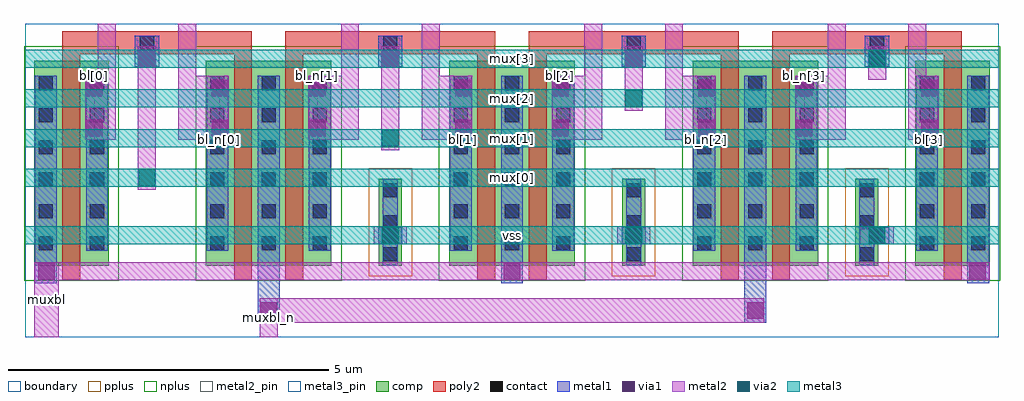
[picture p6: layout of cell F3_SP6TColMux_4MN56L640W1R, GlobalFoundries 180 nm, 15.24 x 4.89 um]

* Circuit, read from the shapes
.subckt F3_SP6TColMux_4MN56L640W1R bl[0] bl[1] bl[2] bl[3] bl_n[0] bl_n[1] bl_n[2] bl_n[3] mux[0] mux[1] mux[2] mux[3] muxbl muxbl_n vss
XM1 bl[0] mux[0] muxbl vss nfet_03v3 w=3.2u l=0.28u
XM2 muxbl_n mux[0] bl_n[0] vss nfet_03v3 w=3.2u l=0.28u
XM3 bl_n[1] mux[1] muxbl_n vss nfet_03v3 w=3.2u l=0.28u
XM4 muxbl mux[1] bl[1] vss nfet_03v3 w=3.2u l=0.28u
XM5 bl[2] mux[2] muxbl vss nfet_03v3 w=3.2u l=0.28u
XM6 muxbl_n mux[2] bl_n[2] vss nfet_03v3 w=3.2u l=0.28u
XM7 bl_n[3] mux[3] muxbl_n vss nfet_03v3 w=3.2u l=0.28u
XM8 muxbl mux[3] bl[3] vss nfet_03v3 w=3.2u l=0.28u
.ends

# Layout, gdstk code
import gdstk
lib = gdstk.Library(unit=1e-6, precision=1e-09)
def R(c, l, rs):  # rectangles x0, y0, x1, y1
    for r in rs: c.add(gdstk.rectangle(r[:2], r[2:], *l))
def A(c, l, x, y, w, h, nx, ny, dx, dy):  # array of equal rectangles
    R(c, l, [(x+i*dx, y+j*dy, x+i*dx+w, y+j*dy+h) for i in range(nx) for j in range(ny)])
def P(c, l, *ps):  # polygons
    for p in ps: c.add(gdstk.Polygon(p, *l))
boundary = (0, 0)
comp = (22, 0)
poly2 = (30, 0)
pplus = (31, 0)
nplus = (32, 0)
contact = (33, 0)
metal1 = (34, 0)
via1 = (35, 0)
metal2 = (36, 0)
metal2_pin = (36, 10)
via2 = (38, 0)
metal3 = (42, 0)
metal3_pin = (42, 10)

f3_sp6tcolmux_4mn56l640w = lib.new_cell('F3_SP6TColMux_4MN56L640W1R')
R(f3_sp6tcolmux_4mn56l640w, boundary, [(0,0,15.2,4.895)])
A(f3_sp6tcolmux_4mn56l640w, comp, 2.82, 1.115, 1.96, 3.2, 3, 1, 3.8, 0)
R(f3_sp6tcolmux_4mn56l640w, comp, [(0.14,1.115,1.3,4.315), (5.52,1.115,5.88,2.475), (9.32,1.115,9.68,2.475), (12.96,1.115,13.32,2.475), (13.9,1.115,15.06,4.315)])
P(f3_sp6tcolmux_4mn56l640w, poly2, [(4.06,0.895),(4.06,4.775),(7.34,4.775),(7.34,0.895),(7.06,0.895),(7.06,4.415),(4.34,4.415),(4.34,0.895)],
  [(7.86,0.895),(7.86,4.775),(11.14,4.775),(11.14,0.895),(10.86,0.895),(10.86,4.415),(8.14,4.415),(8.14,0.895)],
  [(0.58,0.895),(0.58,4.775),(3.54,4.775),(3.54,0.895),(3.26,0.895),(3.26,4.415),(0.86,4.415),(0.86,0.895)],
  [(11.66,0.895),(11.66,4.775),(14.62,4.775),(14.62,0.895),(14.34,0.895),(14.34,4.415),(11.94,4.415),(11.94,0.895)])
R(f3_sp6tcolmux_4mn56l640w, pplus, [(5.36,0.955,6.04,2.635), (9.16,0.955,9.84,2.635), (12.8,0.955,13.48,2.635)])
A(f3_sp6tcolmux_4mn56l640w, nplus, 2.66, 0.885, 2.28, 3.66, 3, 1, 3.8, 0)
R(f3_sp6tcolmux_4mn56l640w, nplus, [(-0.02,0.885,1.46,4.545), (13.74,0.885,15.22,4.545)])
A(f3_sp6tcolmux_4mn56l640w, contact, 5.59, 1.185, 0.22, 0.22, 1, 3, 0, 0.5)
A(f3_sp6tcolmux_4mn56l640w, contact, 9.39, 1.185, 0.22, 0.22, 1, 3, 0, 0.5)
A(f3_sp6tcolmux_4mn56l640w, contact, 13.03, 1.185, 0.22, 0.22, 1, 3, 0, 0.5)
A(f3_sp6tcolmux_4mn56l640w, contact, 0.21, 1.355, 0.22, 0.22, 1, 6, 0, 0.5)
A(f3_sp6tcolmux_4mn56l640w, contact, 1.01, 1.355, 0.22, 0.22, 1, 6, 0, 0.5)
A(f3_sp6tcolmux_4mn56l640w, contact, 2.89, 1.355, 0.22, 0.22, 3, 6, 0.8, 0.5)
A(f3_sp6tcolmux_4mn56l640w, contact, 6.69, 1.355, 0.22, 0.22, 3, 6, 0.8, 0.5)
A(f3_sp6tcolmux_4mn56l640w, contact, 10.49, 1.355, 0.22, 0.22, 3, 6, 0.8, 0.5)
A(f3_sp6tcolmux_4mn56l640w, contact, 13.97, 1.355, 0.22, 0.22, 1, 6, 0, 0.5)
A(f3_sp6tcolmux_4mn56l640w, contact, 14.77, 1.355, 0.22, 0.22, 1, 6, 0, 0.5)
A(f3_sp6tcolmux_4mn56l640w, contact, 1.79, 4.485, 0.22, 0.22, 4, 1, 3.8, 0)
A(f3_sp6tcolmux_4mn56l640w, metal1, 0.15, 0.84, 0.34, 3.24, 3, 1, 7.28, 0)
A(f3_sp6tcolmux_4mn56l640w, metal1, 1.71, 4.22, 0.38, 0.49, 4, 1, 3.8, 0)
R(f3_sp6tcolmux_4mn56l640w, metal1, [(3.63,0.23,3.97,4.08), (11.23,0.23,11.57,4.08), (0.95,1.35,1.29,4.08), (2.83,1.35,3.17,4.08), (4.43,1.35,4.77,4.08), (6.63,1.35,6.97,4.08), (8.23,1.35,8.57,4.08), (10.43,1.35,10.77,4.08), (12.03,1.35,12.37,4.08), (13.91,1.35,14.25,4.08)])
P(f3_sp6tcolmux_4mn56l640w, metal1, [(5.585,1.125),(5.585,1.46),(5.51,1.46),(5.51,1.72),(5.585,1.72),(5.585,2.465),(5.815,2.465),(5.815,1.72),(5.89,1.72),(5.89,1.46),(5.815,1.46),(5.815,1.125)],
  [(9.385,1.125),(9.385,1.46),(9.31,1.46),(9.31,1.72),(9.385,1.72),(9.385,2.465),(9.615,2.465),(9.615,1.72),(9.69,1.72),(9.69,1.46),(9.615,1.46),(9.615,1.125)],
  [(13.025,1.125),(13.025,2.465),(13.255,2.465),(13.255,1.72),(13.49,1.72),(13.49,1.46),(13.255,1.46),(13.255,1.125)])
A(f3_sp6tcolmux_4mn56l640w, via1, 0.2, 0.9, 0.26, 0.26, 3, 1, 7.27, 0)
A(f3_sp6tcolmux_4mn56l640w, via1, 5.57, 1.46, 0.26, 0.26, 3, 1, 3.8, 0)
A(f3_sp6tcolmux_4mn56l640w, via1, 1.77, 4.22, 0.26, 0.26, 4, 1, 3.8, 0)
R(f3_sp6tcolmux_4mn56l640w, via1, [(3.67,0.29,3.93,0.55), (11.27,0.29,11.53,0.55), (0.95,3.14,1.21,3.4), (2.91,3.14,3.17,3.4), (4.43,3.14,4.69,3.4), (6.71,3.14,6.97,3.4), (8.23,3.14,8.49,3.4), (10.51,3.14,10.77,3.4), (12.03,3.14,12.29,3.4), (13.99,3.14,14.25,3.4), (0.95,3.76,1.21,4.02), (2.91,3.76,3.17,4.02), (4.43,3.76,4.69,4.02), (6.71,3.76,6.97,4.02), (8.23,3.76,8.49,4.02), (10.51,3.76,10.77,4.02), (12.03,3.76,12.29,4.02), (13.99,3.76,14.25,4.02)])
A(f3_sp6tcolmux_4mn56l640w, metal2, 5.44, 1.45, 0.52, 0.28, 3, 1, 3.8, 0)
R(f3_sp6tcolmux_4mn56l640w, metal2, [(1.76,2.3,2.04,4.54), (5.56,2.92,5.84,4.54), (9.36,3.54,9.64,4.54), (13.16,4.02,13.44,4.54)])
P(f3_sp6tcolmux_4mn56l640w, metal2, [(4.42,3.08),(4.42,4.08),(4.93,4.08),(4.93,4.895),(5.21,4.895),(5.21,3.08)],
  [(8.22,3.08),(8.22,4.08),(8.73,4.08),(8.73,4.895),(9.01,4.895),(9.01,3.08)],
  [(12.02,3.08),(12.02,4.08),(12.53,4.08),(12.53,4.895),(12.81,4.895),(12.81,3.08)],
  [(13.79,3.08),(13.79,4.895),(14.07,4.895),(14.07,4.08),(14.26,4.08),(14.26,3.08)],
  [(3.66,0),(3.66,0.61),(11.54,0.61),(11.54,0.23),(3.94,0.23),(3.94,0)],
  [(2.39,3.08),(2.39,4.895),(2.67,4.895),(2.67,4.08),(3.18,4.08),(3.18,3.08)],
  [(6.19,3.08),(6.19,4.895),(6.47,4.895),(6.47,4.08),(6.98,4.08),(6.98,3.08)],
  [(9.99,3.08),(9.99,4.895),(10.27,4.895),(10.27,4.08),(10.78,4.08),(10.78,3.08)],
  [(0.94,3.08),(0.94,4.08),(1.13,4.08),(1.13,4.895),(1.41,4.895),(1.41,3.08)],
  [(0.14,0),(0.14,1.17),(15.06,1.17),(15.06,0.89),(0.52,0.89),(0.52,0)])
R(f3_sp6tcolmux_4mn56l640w, metal2_pin, [(0.14,0,0.52,1.17), (3.66,0,3.94,0.61)])
P(f3_sp6tcolmux_4mn56l640w, metal2_pin, [(13.79,3.08),(13.79,4.895),(14.07,4.895),(14.07,4.08),(14.12,4.08),(14.12,3.08)],
  [(4.56,3.08),(4.56,4.08),(4.93,4.08),(4.93,4.895),(5.21,4.895),(5.21,3.08)],
  [(8.36,3.08),(8.36,4.08),(8.73,4.08),(8.73,4.895),(9.01,4.895),(9.01,3.08)],
  [(12.16,3.08),(12.16,4.08),(12.53,4.08),(12.53,4.895),(12.81,4.895),(12.81,3.08)],
  [(2.39,3.08),(2.39,4.895),(2.67,4.895),(2.67,4.08),(3.04,4.08),(3.04,3.08)],
  [(6.19,3.08),(6.19,4.895),(6.47,4.895),(6.47,4.08),(6.84,4.08),(6.84,3.08)],
  [(9.99,3.08),(9.99,4.895),(10.27,4.895),(10.27,4.08),(10.64,4.08),(10.64,3.08)],
  [(1.08,3.08),(1.08,4.08),(1.13,4.08),(1.13,4.895),(1.41,4.895),(1.41,3.08)])
A(f3_sp6tcolmux_4mn56l640w, via2, 5.57, 1.46, 0.26, 0.26, 3, 1, 3.8, 0)
R(f3_sp6tcolmux_4mn56l640w, via2, [(1.77,2.36,2.03,2.62), (5.57,2.98,5.83,3.24), (9.37,3.6,9.63,3.86), (13.17,4.22,13.43,4.48)])
A(f3_sp6tcolmux_4mn56l640w, metal3, 0, 2.35, 15.2, 0.28, 1, 4, 0, 0.62)
R(f3_sp6tcolmux_4mn56l640w, metal3, [(0,1.45,15.2,1.73)])
A(f3_sp6tcolmux_4mn56l640w, metal3_pin, 0, 2.35, 15.2, 0.28, 1, 4, 0, 0.62)
R(f3_sp6tcolmux_4mn56l640w, metal3_pin, [(0,1.45,15.2,1.73)])
f3_sp6tcolmux_4mn56l640w.add(gdstk.Label('mux[3]', (7.6,4.35), layer=42, texttype=10))
f3_sp6tcolmux_4mn56l640w.add(gdstk.Label('mux[2]', (7.6,3.73), layer=42, texttype=10))
f3_sp6tcolmux_4mn56l640w.add(gdstk.Label('mux[1]', (7.6,3.11), layer=42, texttype=10))
f3_sp6tcolmux_4mn56l640w.add(gdstk.Label('mux[0]', (7.6,2.49), layer=42, texttype=10))
f3_sp6tcolmux_4mn56l640w.add(gdstk.Label('vss', (7.6,1.59), layer=42, texttype=10))
f3_sp6tcolmux_4mn56l640w.add(gdstk.Label('bl_n[3]', (12.16,4.08), layer=36, texttype=10))
f3_sp6tcolmux_4mn56l640w.add(gdstk.Label('bl[2]', (8.36,4.08), layer=36, texttype=10))
f3_sp6tcolmux_4mn56l640w.add(gdstk.Label('bl_n[1]', (4.56,4.08), layer=36, texttype=10))
f3_sp6tcolmux_4mn56l640w.add(gdstk.Label('bl[3]', (14.12,3.08), layer=36, texttype=10))
f3_sp6tcolmux_4mn56l640w.add(gdstk.Label('bl_n[2]', (10.64,3.08), layer=36, texttype=10))
f3_sp6tcolmux_4mn56l640w.add(gdstk.Label('muxbl_n', (3.8,0.305), layer=36, texttype=10))
f3_sp6tcolmux_4mn56l640w.add(gdstk.Label('bl[1]', (6.84,3.08), layer=36, texttype=10))
f3_sp6tcolmux_4mn56l640w.add(gdstk.Label('bl_n[0]', (3.04,3.08), layer=36, texttype=10))
f3_sp6tcolmux_4mn56l640w.add(gdstk.Label('bl[0]', (1.08,4.08), layer=36, texttype=10))
f3_sp6tcolmux_4mn56l640w.add(gdstk.Label('muxbl', (0.33,0.585), layer=36, texttype=10))

lib.write_gds('F3_SP6TColMux_4MN56L640W1R.gds')
